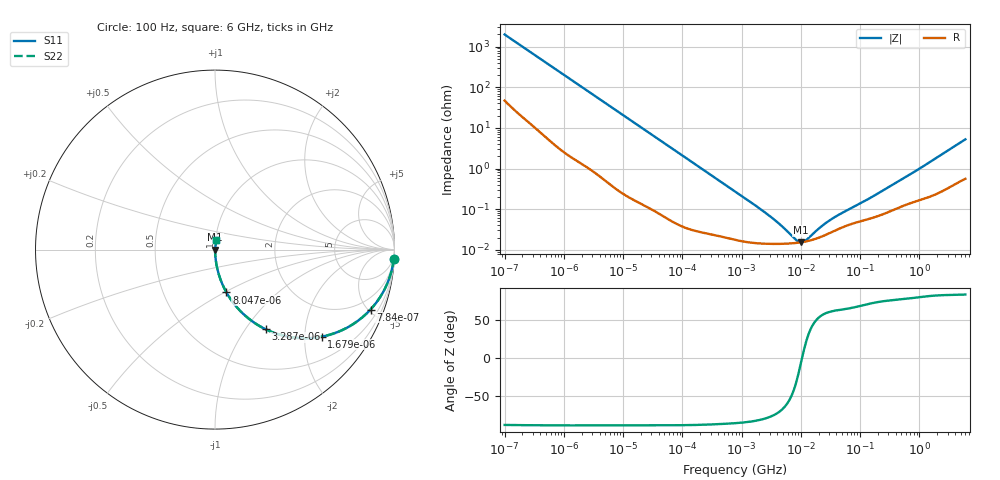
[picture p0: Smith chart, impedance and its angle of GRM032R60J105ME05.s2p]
!Murata Part Number: GRM032R60J105ME05
!These Parameters are Measured in Series Mode Connection
!Data Generated on Mar 30, 2021
!  o--ll--o
!Port1  Port2
!  o------o
!Operation Temp=25[degC], DC Bias Voltage=0[V]
!Freq. Start=100[Hz] Stop=6[GHz] 401[Steps]
# Hz S RI R 50
!Freq.(Hz) S11(Real) S11(Imag) S21(Real) S21(Imag) S12(Real) S12(Imag) S22(Real) S22(Imag)
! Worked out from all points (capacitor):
!   401 points, 100 Hz to 6 GHz, reference 50 ohm
!   read as one part in series: C = 798 nF near 109 Hz
!   lowest |Z| = 15.4 mohm at 9.942 MHz (marker M1)
!   series resonance near 10.5 MHz, so ESL is about 290 pH
!   S11 on the Smith chart (normalised r, x): 100 Hz: 2, -40; 784 Hz: 1.07, -5.16; 1.679 kHz: 1.03, -2.42; 3.287 kHz: 1.02, -1.25; 8.047 kHz: 1.01, -0.51; 6 GHz: 1.01, +0.10
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100  0.9963 -0.05  0.0037 0.05  0.0037 0.05  0.9963 -0.05
293  0.9769 -0.1421  0.0231 0.1421  0.0231 0.1421  0.9769 -0.1421
501  0.939 -0.2323  0.061 0.2323  0.061 0.2323  0.939 -0.2323
784  0.8664 -0.3339  0.1336 0.3339  0.1336 0.3339  0.8664 -0.3339
1122  0.7631 -0.4191  0.2369 0.4191  0.2369 0.4191  0.7631 -0.4191
1679  0.5937 -0.4849  0.4063 0.4849  0.4063 0.4849  0.5937 -0.4849
2008  0.5071 -0.4936  0.4929 0.4936  0.4929 0.4936  0.5071 -0.4936
3287  0.2819 -0.4436  0.7181 0.4436  0.7181 0.4436  0.2819 -0.4436
5143  0.1406 -0.3416  0.8594 0.3416  0.8594 0.3416  0.1406 -0.3416
8047  0.0639 -0.2389  0.9361 0.2389  0.9361 0.2389  0.0639 -0.2389
16473  0.017 -0.1232  0.983 0.1232  0.983 0.1232  0.017 -0.1232
40335  0.00343 -0.0515  0.9966 0.0515  0.9966 0.0515  0.00343 -0.0515
774597  0.000184 -0.00275  0.9998 0.00275  0.9998 0.00275  0.000184 -0.00275
2967816  0.000141 -0.000669  0.9999 0.000669  0.9999 0.000669  0.000141 -0.000669
7947587  0.000147 -0.000115  0.9999 0.000115  0.9999 0.000115  0.000147 -0.000115
9941735  0.000153 -2.2e-05  0.9998 2.2e-05  0.9998 2.2e-05  0.000153 -2.2e-05
1.189169e7  0.00016 5.02e-05  0.9998 -5.02e-05  0.9998 -5.02e-05  0.00016 5.02e-05
1.555665e7  0.000176 0.000159  0.9998 -0.000159  0.9998 -0.000159  0.000176 0.000159
2.327686e7  0.000216 0.000333  0.9998 -0.000333  0.9998 -0.000333  0.000216 0.000333
3.482834e7  0.000282 0.000529  0.9997 -0.000529  0.9997 -0.000529  0.000282 0.000529
3.124326e8  0.00088 0.00347  0.9991 -0.00347  0.9991 -0.00347  0.00088 0.00347
6e9  0.00822 0.0512  0.9918 -0.0512  0.9918 -0.0512  0.00822 0.0512
